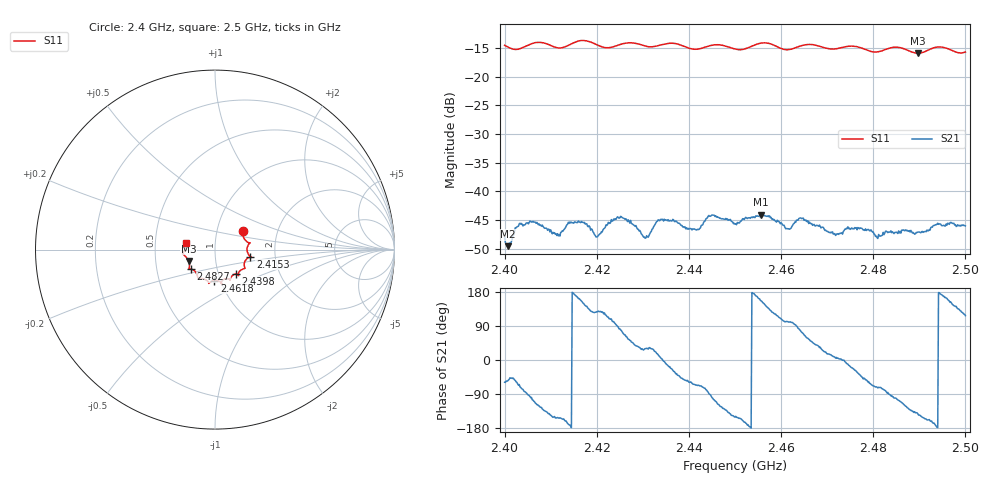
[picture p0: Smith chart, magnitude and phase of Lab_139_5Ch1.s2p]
# Hz S RI R 50
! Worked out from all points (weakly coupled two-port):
!   601 points, 2.4 GHz to 2.5 GHz, reference 50 ohm
!   highest |S21| = -44.04 dB at 2.4557 GHz (marker M1); lowest = -49.6 dB at 2.4007 GHz (marker M2)
!   lowest |S11| = -15.9 dB at 2.4897 GHz (marker M3), VSWR 1.38, Z = 36.9 - j4.85 ohm
!   |S11| at or under -10 dB: start of sweep to end of sweep
!   S12 and S22 are empty: the file has one direction only
!   S11 on the Smith chart (normalised r, x): 2.4 GHz: 1.33, +0.29; 2.4153 GHz: 1.48, -0.12; 2.4398 GHz: 1.21, -0.34; 2.4618 GHz: 0.94, -0.33; 2.4827 GHz: 0.75, -0.17; 2.5 GHz: 0.72, +0.06
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2.4e9  0.1551 0.1064  0.00206 -0.0034  0 0  0 0
2.400667e9  0.1548 0.0964  0.00191 -0.00272  0 0  0 0
2.403333e9  0.1669 0.0549  0.00175 -0.00497  0 0  0 0
2.4115e9  0.1787 0.00744  -0.00377 -0.00202  0 0  0 0
2.415333e9  0.1968 -0.0393  -0.00535 0.000847  0 0  0 0
2.416667e9  0.2025 -0.0433  -0.00498 0.00227  0 0  0 0
2.42e9  0.1849 -0.0459  -0.00245 0.00318  0 0  0 0
2.4255e9  0.1659 -0.0995  0.0016 0.00569  0 0  0 0
2.430667e9  0.1461 -0.1131  0.0034 0.00197  0 0  0 0
2.433333e9  0.1302 -0.134  0.0055 0.00131  0 0  0 0
2.439833e9  0.1153 -0.1363  0.00266 -0.00394  0 0  0 0
2.444833e9  0.0837 -0.1681  -0.000603 -0.00612  0 0  0 0
2.45e9  0.0652 -0.1619  -0.0045 -0.00256  0 0  0 0
2.455667e9  0.0375 -0.1929  -0.00574 0.00256  0 0  0 0
2.461833e9  -0.00347 -0.1729  -0.00084 0.0046  0 0  0 0
2.464333e9  -0.0304 -0.1838  0.00152 0.00564  0 0  0 0
2.466667e9  -0.0348 -0.1878  0.00348 0.00391  0 0  0 0
2.471833e9  -0.0686 -0.1614  0.00411 0.000349  0 0  0 0
2.482667e9  -0.1347 -0.1085  0.000693 -0.00443  0 0  0 0
2.483333e9  -0.1398 -0.1082  3.5e-05 -0.00442  0 0  0 0
2.489667e9  -0.147 -0.064  -0.00346 -0.00274  0 0  0 0
2.5e9  -0.1598 0.0384  -0.00227 0.00445  0 0  0 0
